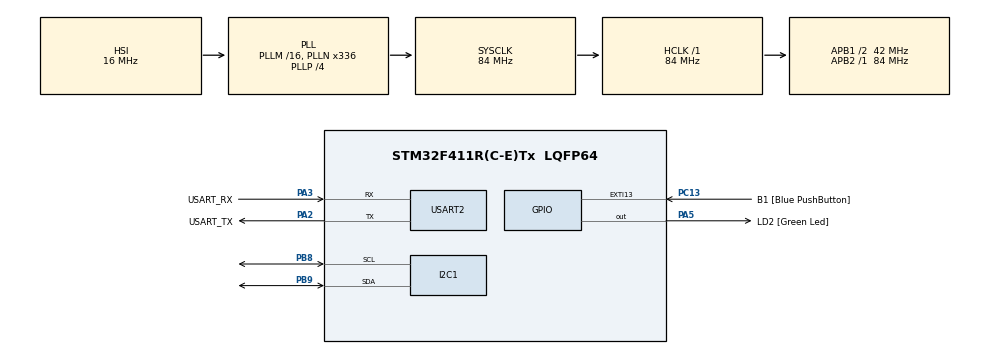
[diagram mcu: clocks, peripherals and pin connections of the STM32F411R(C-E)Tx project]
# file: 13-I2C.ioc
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I2C1.AddressingMode=I2C_ADDRESSINGMODE_7BIT
I2C1.I2C_Mode=I2C_Fast
Mcu.Family=STM32F4
Mcu.Name=STM32F411R(C-E)Tx
Mcu.Package=LQFP64
NVIC.I2C1_ER_IRQn=true\:0\:0\:false\:false\:true\:true\:true
NVIC.I2C1_EV_IRQn=true\:0\:0\:false\:false\:true\:true\:true
NVIC.PriorityGroup=NVIC_PRIORITYGROUP_0
PA13.GPIO_Label=TMS
PA13.Mode=Serial_Wire
PA13.Signal=SYS_JTMS-SWDIO
PA14.GPIO_Label=TCK
PA14.Mode=Serial_Wire
PA14.Signal=SYS_JTCK-SWCLK
PA2.GPIO_Label=USART_TX
PA2.Mode=Asynchronous
PA2.Signal=USART2_TX
PA3.GPIO_Label=USART_RX
PA3.Mode=Asynchronous
PA3.Signal=USART2_RX
PA5.GPIO_Label=LD2 [Green Led]
PA5.Signal=GPIO_Output
PB3.GPIO_Label=SWO
PB3.Signal=SYS_JTDO-SWO
PB8.GPIO_Pu=GPIO_PULLUP
PB8.Mode=I2C
PB8.Signal=I2C1_SCL
PB9.GPIO_Pu=GPIO_PULLUP
PB9.Mode=I2C
PB9.Signal=I2C1_SDA
PC13-ANTI_TAMP.GPIO_Label=B1 [Blue PushButton]
PC13-ANTI_TAMP.GPIO_ModeDefaultEXTI=GPIO_MODE_IT_FALLING
PC13-ANTI_TAMP.Signal=GPXTI13
PC14-OSC32_IN.Mode=LSE-External-Oscillator
PC14-OSC32_IN.Signal=RCC_OSC32_IN
PC15-OSC32_OUT.Mode=LSE-External-Oscillator
PC15-OSC32_OUT.Signal=RCC_OSC32_OUT
PH0\ -\ OSC_IN.Mode=HSE-External-Clock-Source
PH0\ -\ OSC_IN.Signal=RCC_OSC_IN
PH1\ -\ OSC_OUT.Mode=HSE-External-Clock-Source
PH1\ -\ OSC_OUT.Signal=RCC_OSC_OUT
ProjectManager.HeapSize=0x200
ProjectManager.StackSize=0x400
ProjectManager.TargetToolchain=STM32CubeIDE
RCC.48MHZClocksFreq_Value=84000000
RCC.AHBFreq_Value=84000000
RCC.APB1CLKDivider=RCC_HCLK_DIV2
RCC.APB1Freq_Value=42000000
RCC.APB1TimFreq_Value=84000000
RCC.APB2Freq_Value=84000000
RCC.APB2TimFreq_Value=84000000
RCC.CortexFreq_Value=84000000
RCC.FLatency-AdvancedSettings=FLASH_LATENCY_2
RCC.HCLKFreq_Value=84000000
RCC.HSE_VALUE=8000000
RCC.HSI_VALUE=16000000
RCC.PLLN=336
RCC.PLLP=RCC_PLLP_DIV4
RCC.SYSCLKFreq_VALUE=84000000
RCC.SYSCLKSource=RCC_SYSCLKSOURCE_PLLCLK
RCC.VCOOutputFreq_Value=336000000
USART2.VirtualMode=VM_ASYNC
board=NUCLEO-F411RE

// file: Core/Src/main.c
/* USER CODE BEGIN Header */
/**
 ******************************************************************************
 * @file           : main.c
 * @brief          : Main program body
 ******************************************************************************
 * @attention
 *
 * <h2><center>&copy; Copyright (c) 2021 STMicroelectronics.
 * All rights reserved.</center></h2>
 *
 * This software component is licensed by ST under BSD 3-Clause license,
 * the "License"; You may not use this file except in compliance with the
 * License. You may obtain a copy of the License at:
 *                        opensource.org/licenses/BSD-3-Clause
 *
 ******************************************************************************
 */
/* USER CODE END Header */
#include "main.h"

/* USER CODE BEGIN PD */
#define EEPROM_ADDR 0b10100000
#define IOEXPD_ADDR 0b01000000
/* USER CODE END PD */

I2C_HandleTypeDef hi2c1;

UART_HandleTypeDef huart2;

/* USER CODE BEGIN PV */
uint8_t eepromExampleWriteFlag = 0;
uint8_t eepromExampleReadFlag = 0;
uint8_t IOExpdrExampleWriteFlag = 0;
uint8_t IOExpdrExampleReadFlag = 0;
uint8_t eepromDataReadBack[4];
uint8_t IOExpdrDataReadBack;
uint8_t IOExpdrDataWrite = 0b11111111;
uint8_t data[4] = {0xff,0x12,0x09,0x00};
/* USER CODE END PV */

void SystemClock_Config(void);
static void MX_GPIO_Init(void);
static void MX_USART2_UART_Init(void);
static void MX_I2C1_Init(void);
/* USER CODE BEGIN PFP */
void EEPROMWriteExample(uint8_t *Wdata);
void EEPROMReadExample(uint8_t *Rdata, uint16_t len);

void IOExpenderInit();
void IOExpenderReadPinA(uint8_t *Rdata);
void IOExpenderWritePinB(uint8_t Wdata);
uint8_t fallingEdge();
/* USER CODE END PFP */

int main(void)
{

  /* MCU Configuration--------------------------------------------------------*/

  /* Reset of all peripherals, Initializes the Flash interface and the Systick. */
  HAL_Init();

  /* Configure the system clock */
  SystemClock_Config();

  /* Initialize all configured peripherals */
  MX_GPIO_Init();
  MX_USART2_UART_Init();
  MX_I2C1_Init();
  /* USER CODE BEGIN 2 */
  HAL_Delay(100);
  IOExpenderInit();
  /* USER CODE END 2 */

  /* Infinite loop */
  /* USER CODE BEGIN WHILE */
	while (1) {
		EEPROMReadExample(eepromDataReadBack, 4);
		EEPROMWriteExample(data);
		IOExpenderReadPinA(&IOExpdrDataReadBack);
		IOExpenderWritePinB(IOExpdrDataWrite);
		/*EEPROMWriteExample();
		EEPROMReadExample(&eepromDataReadBack, 1);*/
    /* USER CODE END WHILE */

	}
}

void SystemClock_Config(void)
{
  RCC_OscInitTypeDef RCC_OscInitStruct = {0};
  RCC_ClkInitTypeDef RCC_ClkInitStruct = {0};

  /** Configure the main internal regulator output voltage
  */
  __HAL_RCC_PWR_CLK_ENABLE();
  __HAL_PWR_VOLTAGESCALING_CONFIG(PWR_REGULATOR_VOLTAGE_SCALE1);
  /** Initializes the RCC Oscillators according to the specified parameters
  * in the RCC_OscInitTypeDef structure.
  */
  RCC_OscInitStruct.OscillatorType = RCC_OSCILLATORTYPE_HSI;
  RCC_OscInitStruct.HSIState = RCC_HSI_ON;
  RCC_OscInitStruct.HSICalibrationValue = RCC_HSICALIBRATION_DEFAULT;
  RCC_OscInitStruct.PLL.PLLState = RCC_PLL_ON;
  RCC_OscInitStruct.PLL.PLLSource = RCC_PLLSOURCE_HSI;
  RCC_OscInitStruct.PLL.PLLM = 16;
  RCC_OscInitStruct.PLL.PLLN = 336;
  RCC_OscInitStruct.PLL.PLLP = RCC_PLLP_DIV4;
  RCC_OscInitStruct.PLL.PLLQ = 4;
  if (HAL_RCC_OscConfig(&RCC_OscInitStruct) != HAL_OK)
  {
    Error_Handler();
  }
  /** Initializes the CPU, AHB and APB buses clocks
  */
  RCC_ClkInitStruct.ClockType = RCC_CLOCKTYPE_HCLK|RCC_CLOCKTYPE_SYSCLK
                              |RCC_CLOCKTYPE_PCLK1|RCC_CLOCKTYPE_PCLK2;
  RCC_ClkInitStruct.SYSCLKSource = RCC_SYSCLKSOURCE_PLLCLK;
  RCC_ClkInitStruct.AHBCLKDivider = RCC_SYSCLK_DIV1;
  RCC_ClkInitStruct.APB1CLKDivider = RCC_HCLK_DIV2;
  RCC_ClkInitStruct.APB2CLKDivider = RCC_HCLK_DIV1;

  if (HAL_RCC_ClockConfig(&RCC_ClkInitStruct, FLASH_LATENCY_2) != HAL_OK)
  {
    Error_Handler();
  }
}

static void MX_I2C1_Init(void)
{

  hi2c1.Instance = I2C1;
  hi2c1.Init.ClockSpeed = 400000;
  hi2c1.Init.DutyCycle = I2C_DUTYCYCLE_2;
  hi2c1.Init.OwnAddress1 = 0;
  hi2c1.Init.AddressingMode = I2C_ADDRESSINGMODE_7BIT;
  hi2c1.Init.DualAddressMode = I2C_DUALADDRESS_DISABLE;
  hi2c1.Init.OwnAddress2 = 0;
  hi2c1.Init.GeneralCallMode = I2C_GENERALCALL_DISABLE;
  hi2c1.Init.NoStretchMode = I2C_NOSTRETCH_DISABLE;
  if (HAL_I2C_Init(&hi2c1) != HAL_OK)
  {
    Error_Handler();
  }

}

static void MX_USART2_UART_Init(void)
{

  huart2.Instance = USART2;
  huart2.Init.BaudRate = 115200;
  huart2.Init.WordLength = UART_WORDLENGTH_8B;
  huart2.Init.StopBits = UART_STOPBITS_1;
  huart2.Init.Parity = UART_PARITY_NONE;
  huart2.Init.Mode = UART_MODE_TX_RX;
  huart2.Init.HwFlowCtl = UART_HWCONTROL_NONE;
  huart2.Init.OverSampling = UART_OVERSAMPLING_16;
  if (HAL_UART_Init(&huart2) != HAL_OK)
  {
    Error_Handler();
  }

}

static void MX_GPIO_Init(void)
{
  GPIO_InitTypeDef GPIO_InitStruct = {0};

  /* GPIO Ports Clock Enable */
  __HAL_RCC_GPIOC_CLK_ENABLE();
  __HAL_RCC_GPIOH_CLK_ENABLE();
  __HAL_RCC_GPIOA_CLK_ENABLE();
  __HAL_RCC_GPIOB_CLK_ENABLE();

  /*Configure GPIO pin Output Level */
  HAL_GPIO_WritePin(LD2_GPIO_Port, LD2_Pin, GPIO_PIN_RESET);

  /*Configure GPIO pin : B1_Pin */
  GPIO_InitStruct.Pin = B1_Pin;
  GPIO_InitStruct.Mode = GPIO_MODE_IT_FALLING;
  GPIO_InitStruct.Pull = GPIO_NOPULL;
  HAL_GPIO_Init(B1_GPIO_Port, &GPIO_InitStruct);

  /*Configure GPIO pin : LD2_Pin */
  GPIO_InitStruct.Pin = LD2_Pin;
  GPIO_InitStruct.Mode = GPIO_MODE_OUTPUT_PP;
  GPIO_InitStruct.Pull = GPIO_NOPULL;
  GPIO_InitStruct.Speed = GPIO_SPEED_FREQ_LOW;
  HAL_GPIO_Init(LD2_GPIO_Port, &GPIO_InitStruct);

}

/* USER CODE BEGIN 4 */
void EEPROMWriteExample(uint8_t *Wdata) {
	if (eepromExampleWriteFlag && hi2c1.State == HAL_I2C_STATE_READY) {
		HAL_I2C_Mem_Write_IT(&hi2c1, EEPROM_ADDR, 0x05, I2C_MEMADD_SIZE_16BIT,
				Wdata, 4);
		eepromExampleWriteFlag = 0;
	}
}
void EEPROMReadExample(uint8_t *Rdata, uint16_t len) {
	if (eepromExampleReadFlag && hi2c1.State == HAL_I2C_STATE_READY) {

		HAL_I2C_Mem_Read_IT(&hi2c1, EEPROM_ADDR, 0x05, I2C_MEMADD_SIZE_16BIT,
				Rdata, len);
		eepromExampleReadFlag = 0;
	}
}
void IOExpenderInit() {
	//Init All
	static uint8_t Setting[0x16] = { 0xFF, 0x00, 0x00, 0x00, 0x00, 0x00, 0x00,
			0x00, 0x00, 0x00, 0x00, 0x00, 0xFF, 0x00, 0x00, 0x00, 0x00, 0x00,
			0x00, 0x00, 0x00, 0x00 };
	HAL_I2C_Mem_Write_IT(&hi2c1, IOEXPD_ADDR, 0x00, I2C_MEMADD_SIZE_8BIT, Setting,
			0x16);
}
void IOExpenderReadPinA(uint8_t *Rdata) {
	if (IOExpdrExampleReadFlag && hi2c1.State == HAL_I2C_STATE_READY) {
		HAL_I2C_Mem_Read_IT(&hi2c1, IOEXPD_ADDR, 0x12, I2C_MEMADD_SIZE_8BIT,
				Rdata, 1);
		IOExpdrExampleReadFlag =0;
	}
}
void IOExpenderWritePinB(uint8_t Wdata) {
	if (IOExpdrExampleWriteFlag && hi2c1.State == HAL_I2C_STATE_READY) {
		static uint8_t data;
		data = Wdata;
		HAL_I2C_Mem_Write_IT(&hi2c1, IOEXPD_ADDR, 0x15, I2C_MEMADD_SIZE_8BIT,
				&data, 1);
		IOExpdrExampleWriteFlag=0;
	}
}

uint8_t fallingEdge(){
	static uint8_t buttonState = 0;
	if(HAL_GPIO_ReadPin(GPIOC, GPIO_PIN_13)==GPIO_PIN_RESET){
		if(!buttonState){
			buttonState = 1;
			return 1;
		}
	}
	else{
		buttonState = 0;
	}
	return 0;
}
/* USER CODE END 4 */

void Error_Handler(void)
{
	__disable_irq();
	while (1) {
	}
}
